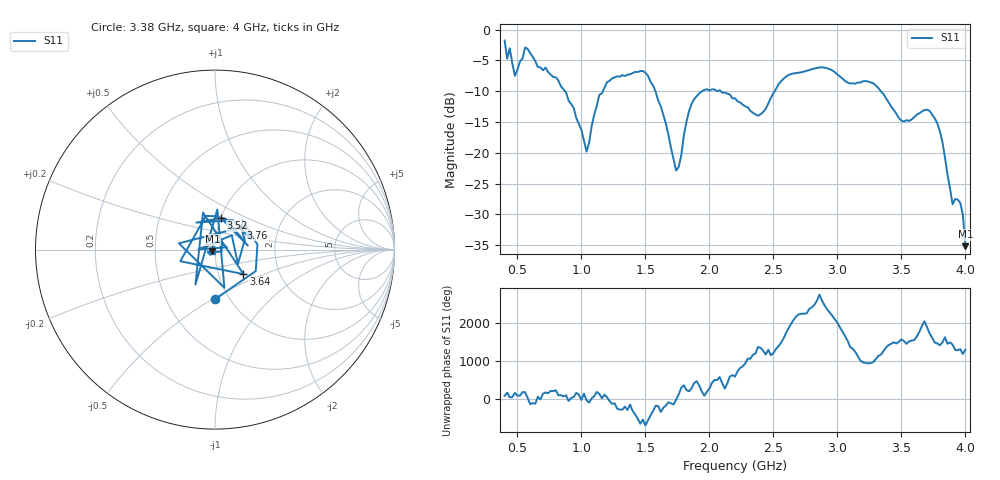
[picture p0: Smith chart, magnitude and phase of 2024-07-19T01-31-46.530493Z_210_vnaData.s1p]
!Created with skrf (http://scikit-rf.org).
# Hz S RI R 50.0
!freq ReS11 ImS11
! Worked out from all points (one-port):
!   181 points, 400 MHz to 4 GHz, reference 50 ohm
!   lowest |S11| = -35.1 dB at 4 GHz (marker M1), VSWR 1.04, Z = 48.6 - j0.946 ohm
!   |S11| at or under -10 dB: 1.578 GHz to 1.942 GHz (364.2 MHz wide, 20.7 % of centre); 2.088 GHz to 2.51 GHz (421.5 MHz wide, 18.3 % of centre); 3.339 GHz to end of sweep (the widest 3 of 4)
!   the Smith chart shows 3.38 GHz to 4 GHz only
!   S11 on the Smith chart (normalised r, x): 3.38 GHz: 0.86, -0.51; 3.52 GHz: 1.00, +0.36; 3.64 GHz: 1.32, -0.38; 3.76 GHz: 1.29, +0.33; 4 GHz: 0.97, -0.02
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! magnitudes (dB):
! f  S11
! 400 MHz  -1.8
! 480 MHz  -7.5
! 560 MHz  -2.9
! 860 MHz  -9.7
! 1.04 GHz  -19.8
! 1.14 GHz  -10.6
! 1.3 GHz  -7.6
! 1.52 GHz  -7.5
! 1.64 GHz  -13.8
! 1.74 GHz  -22.9
! 1.76 GHz  -22.3
! 1.82 GHz  -15.1
! 1.88 GHz  -11.3
! 2.2 GHz  -11.1
! 2.38 GHz  -14.0
! 2.66 GHz  -7.1
! 2.9 GHz  -6.2
! 3.1 GHz  -8.7
! 3.38 GHz  -11.1
! 3.52 GHz  -14.9
! 3.56 GHz  -14.8
! 3.64 GHz  -13.6
! 3.76 GHz  -14.4
! 3.82 GHz  -18.2
! 3.9 GHz  -28.3
! 3.96 GHz  -28.1
! 3.98 GHz  -30.0
! 4 GHz  -35.1
